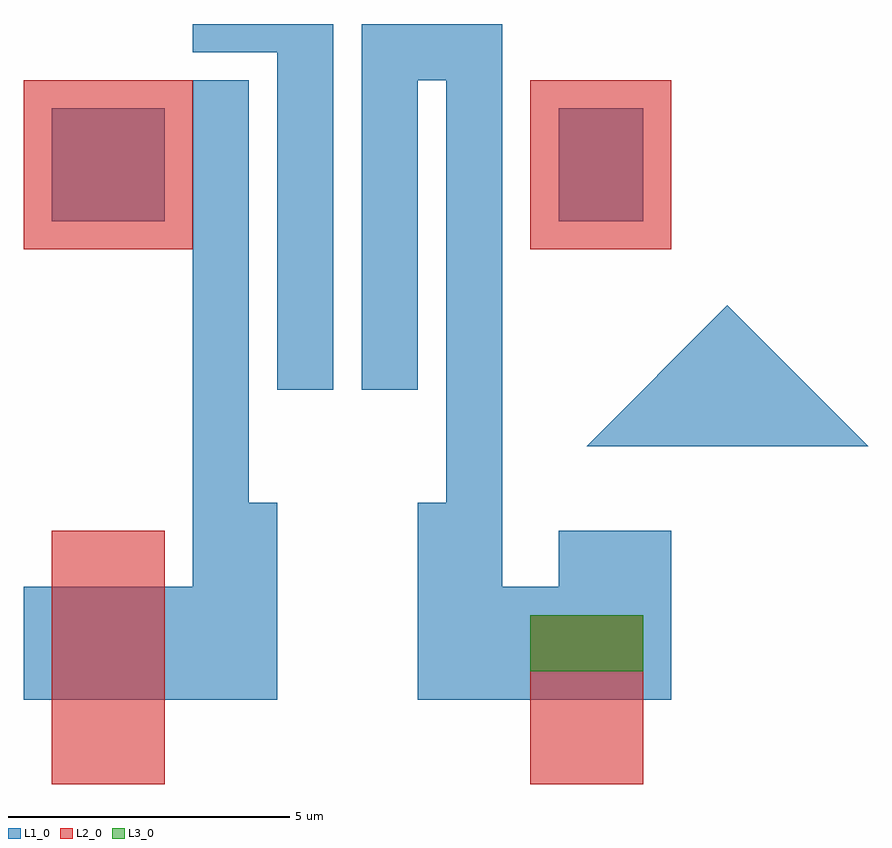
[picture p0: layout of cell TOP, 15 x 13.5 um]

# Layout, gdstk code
from math import pi, radians
import gdstk
lib = gdstk.Library(unit=1e-6, precision=1e-09)
def R(c, l, rs):  # rectangles x0, y0, x1, y1
    for r in rs: c.add(gdstk.rectangle(r[:2], r[2:], *l))
def P(c, l, *ps):  # polygons
    for p in ps: c.add(gdstk.Polygon(p, *l))
L1_0 = (1, 0)
L2_0 = (2, 0)
L3_0 = (3, 0)
L100_0 = (100, 0)
L101_0 = (101, 0)
L102_0 = (102, 0)
L103_0 = (103, 0)
L110_0 = (110, 0)
L111_0 = (111, 0)
L112_0 = (112, 0)
L113_0 = (113, 0)
L114_0 = (114, 0)
L115_0 = (115, 0)
L116_0 = (116, 0)

part = lib.new_cell('PART')
R(part, L1_0, [(0,0,1,5.5)])

child = lib.new_cell('CHILD')
R(child, L1_0, [(-0.5,-5.5,0,-2), (1,-5.5,4,-3.5), (2,3,3.5,5)])
R(child, L2_0, [(1.5,-7,3.5,-4), (1.5,2.5,4,5.5)])
child.add(gdstk.Reference(part, (0,0)))
child.add(gdstk.Reference(part, (0,-5.5)))
child.add(gdstk.Reference(part, (-1.5,0)))

part_1 = lib.new_cell('PART$1')

child_1 = lib.new_cell('CHILD$1')
child_1.add(gdstk.Reference(part_1, (0,0)))
child_1.add(gdstk.Reference(part_1, (0,-5.5)))
child_1.add(gdstk.Reference(part_1, (-1.5,0)))

part_var1 = lib.new_cell('PART$VAR1')

child_var1 = lib.new_cell('CHILD$VAR1')
child_var1.add(gdstk.Reference(part_var1, (0,0)))
child_var1.add(gdstk.Reference(part_var1, (0,-5.5)))
child_var1.add(gdstk.Reference(part_var1, (-1.5,0)))

top = lib.new_cell('TOP')
R(top, L1_0, [(2,-3.5,4,-2.5), (-6,3,-5,5), (-3,5.5,-2,6.5), (-1.5,5.5,1,6.5), (-4.5,6,-3,6.5)])
P(top, L1_0, [(2.5,-1),(5,1.5),(7.5,-1)])
R(top, L2_0, [(-7,-4,-5,-2.5), (-5.5,2.5,-4.5,5.5)])
R(top, L3_0, [(1.5,-5,3.5,-4)])
top.add(gdstk.FlexPath([(-3,0),(-3,6)], 0, ends="flush", simple_path=True, layer=100, datatype=0))  # L100_0
top.add(gdstk.FlexPath([(-2,6.5),(-2,0)], 0, ends="flush", simple_path=True, layer=100, datatype=0))  # L100_0
top.add(gdstk.FlexPath([(-0.5,5.5),(-0.5,0)], 0, ends="flush", simple_path=True, layer=100, datatype=0))  # L100_0
top.add(gdstk.FlexPath([(-1.5,0),(-1.5,6.5)], 0, ends="flush", simple_path=True, layer=100, datatype=0))  # L100_0
top.add(gdstk.FlexPath([(0,-2),(0,5.5)], 0, ends="flush", simple_path=True, layer=100, datatype=0))  # L100_0
top.add(gdstk.FlexPath([(-4.5,-3.5),(-4.5,5.5)], 0, ends="flush", simple_path=True, layer=100, datatype=0))  # L100_0
top.add(gdstk.FlexPath([(1,6.5),(1,-3.5)], 0, ends="flush", simple_path=True, layer=100, datatype=0))  # L100_0
top.add(gdstk.FlexPath([(-3.5,5.5),(-3.5,-2)], 0, ends="flush", simple_path=True, layer=100, datatype=0))  # L100_0
top.add(gdstk.FlexPath([(-4.5,6.5),(-2,6.5)], 0, ends="flush", simple_path=True, layer=101, datatype=0))  # L101_0
top.add(gdstk.FlexPath([(2.5,-1),(5,1.5)], 0, ends="flush", simple_path=True, layer=101, datatype=0))  # L101_0
top.add(gdstk.FlexPath([(5,1.5),(7.5,-1)], 0, ends="flush", simple_path=True, layer=101, datatype=0))  # L101_0
top.add(gdstk.FlexPath([(7.5,-1),(2.5,-1)], 0, ends="flush", simple_path=True, layer=101, datatype=0))  # L101_0
top.add(gdstk.FlexPath([(-1.5,6.5),(1,6.5)], 0, ends="flush", simple_path=True, layer=101, datatype=0))  # L101_0
top.add(gdstk.FlexPath([(4,-2.5),(4,-5.5)], 0, ends="flush", simple_path=True, layer=101, datatype=0))  # L101_0
top.add(gdstk.FlexPath([(4,-5.5),(-0.5,-5.5)], 0, ends="flush", simple_path=True, layer=101, datatype=0))  # L101_0
top.add(gdstk.FlexPath([(-0.5,-5.5),(-0.5,-2)], 0, ends="flush", simple_path=True, layer=101, datatype=0))  # L101_0
top.add(gdstk.FlexPath([(-3,-2),(-3,-5.5)], 0, ends="flush", simple_path=True, layer=101, datatype=0))  # L101_0
top.add(gdstk.FlexPath([(-3,-5.5),(-7.5,-5.5)], 0, ends="flush", simple_path=True, layer=101, datatype=0))  # L101_0
top.add(gdstk.FlexPath([(-7.5,-3.5),(-4.5,-3.5)], 0, ends="flush", simple_path=True, layer=101, datatype=0))  # L101_0
top.add(gdstk.FlexPath([(-2,0),(-3,0)], 0, ends="flush", simple_path=True, layer=102, datatype=0))  # L102_0
top.add(gdstk.FlexPath([(1,-3.5),(2,-3.5)], 0, ends="flush", simple_path=True, layer=102, datatype=0))  # L102_0
top.add(gdstk.FlexPath([(2,-3.5),(2,-2.5)], 0, ends="flush", simple_path=True, layer=102, datatype=0))  # L102_0
top.add(gdstk.FlexPath([(-0.5,-2),(0,-2)], 0, ends="flush", simple_path=True, layer=102, datatype=0))  # L102_0
top.add(gdstk.FlexPath([(2,-2.5),(4,-2.5)], 0, ends="flush", simple_path=True, layer=102, datatype=0))  # L102_0
top.add(gdstk.FlexPath([(-4.5,5.5),(-3.5,5.5)], 0, ends="flush", simple_path=True, layer=102, datatype=0))  # L102_0
top.add(gdstk.FlexPath([(-5,3),(-7,3)], 0, ends="flush", simple_path=True, layer=102, datatype=0))  # L102_0
top.add(gdstk.FlexPath([(-3,6),(-4.5,6)], 0, ends="flush", simple_path=True, layer=102, datatype=0))  # L102_0
top.add(gdstk.FlexPath([(2,5),(3.5,5)], 0, ends="flush", simple_path=True, layer=102, datatype=0))  # L102_0
top.add(gdstk.FlexPath([(-4.5,6),(-4.5,6.5)], 0, ends="flush", simple_path=True, layer=102, datatype=0))  # L102_0
top.add(gdstk.FlexPath([(2,3),(2,5)], 0, ends="flush", simple_path=True, layer=102, datatype=0))  # L102_0
top.add(gdstk.FlexPath([(3.5,3),(2,3)], 0, ends="flush", simple_path=True, layer=102, datatype=0))  # L102_0
top.add(gdstk.FlexPath([(-7,3),(-7,5)], 0, ends="flush", simple_path=True, layer=102, datatype=0))  # L102_0
top.add(gdstk.FlexPath([(-5,5),(-5,3)], 0, ends="flush", simple_path=True, layer=102, datatype=0))  # L102_0
top.add(gdstk.FlexPath([(-0.5,0),(-1.5,0)], 0, ends="flush", simple_path=True, layer=102, datatype=0))  # L102_0
top.add(gdstk.FlexPath([(-3.5,-2),(-3,-2)], 0, ends="flush", simple_path=True, layer=102, datatype=0))  # L102_0
top.add(gdstk.FlexPath([(-7,5),(-5,5)], 0, ends="flush", simple_path=True, layer=102, datatype=0))  # L102_0
top.add(gdstk.FlexPath([(-7.5,-5.5),(-7.5,-3.5)], 0, ends="flush", simple_path=True, layer=102, datatype=0))  # L102_0
top.add(gdstk.FlexPath([(3.5,5),(3.5,3)], 0, ends="flush", simple_path=True, layer=102, datatype=0))  # L102_0
top.add(gdstk.FlexPath([(0,5.5),(-0.5,5.5)], 0, ends="flush", simple_path=True, layer=102, datatype=0))  # L102_0
top.add(gdstk.FlexPath([(2,-2.5),(4,-2.5)], 0, ends="flush", simple_path=True, layer=103, datatype=0))  # L103_0
top.add(gdstk.FlexPath([(-7,3),(-7,5)], 0, ends="flush", simple_path=True, layer=103, datatype=0))  # L103_0
top.add(gdstk.FlexPath([(-7,5),(-5,5)], 0, ends="flush", simple_path=True, layer=103, datatype=0))  # L103_0
top.add(gdstk.FlexPath([(-5,3),(-7,3)], 0, ends="flush", simple_path=True, layer=103, datatype=0))  # L103_0
top.add(gdstk.FlexPath([(-5,5),(-5,3)], 0, ends="flush", simple_path=True, layer=103, datatype=0))  # L103_0
top.add(gdstk.FlexPath([(3.5,5),(3.5,3)], 0, ends="flush", simple_path=True, layer=103, datatype=0))  # L103_0
top.add(gdstk.FlexPath([(2,3),(2,5)], 0, ends="flush", simple_path=True, layer=103, datatype=0))  # L103_0
top.add(gdstk.FlexPath([(-7.5,-5.5),(-7.5,-3.5)], 0, ends="flush", simple_path=True, layer=103, datatype=0))  # L103_0
top.add(gdstk.FlexPath([(-2,0),(-3,0)], 0, ends="flush", simple_path=True, layer=110, datatype=0))  # L110_0
top.add(gdstk.FlexPath([(-4.5,6.5),(-2,6.5)], 0, ends="flush", simple_path=True, layer=110, datatype=0))  # L110_0
top.add(gdstk.FlexPath([(7.5,-1),(2.5,-1)], 0, ends="flush", simple_path=True, layer=110, datatype=0))  # L110_0
top.add(gdstk.FlexPath([(1,-3.5),(2,-3.5)], 0, ends="flush", simple_path=True, layer=110, datatype=0))  # L110_0
top.add(gdstk.FlexPath([(-0.5,-2),(0,-2)], 0, ends="flush", simple_path=True, layer=110, datatype=0))  # L110_0
top.add(gdstk.FlexPath([(-4.5,5.5),(-3.5,5.5)], 0, ends="flush", simple_path=True, layer=110, datatype=0))  # L110_0
top.add(gdstk.FlexPath([(-5,3),(-7,3)], 0, ends="flush", simple_path=True, layer=110, datatype=0))  # L110_0
top.add(gdstk.FlexPath([(-7.5,-3.5),(-4.5,-3.5)], 0, ends="flush", simple_path=True, layer=110, datatype=0))  # L110_0
top.add(gdstk.FlexPath([(2,-2.5),(4,-2.5)], 0, ends="flush", simple_path=True, layer=110, datatype=0))  # L110_0
top.add(gdstk.FlexPath([(-3,-5.5),(-7.5,-5.5)], 0, ends="flush", simple_path=True, layer=110, datatype=0))  # L110_0
top.add(gdstk.FlexPath([(3.5,3),(2,3)], 0, ends="flush", simple_path=True, layer=110, datatype=0))  # L110_0
top.add(gdstk.FlexPath([(-1.5,6.5),(1,6.5)], 0, ends="flush", simple_path=True, layer=110, datatype=0))  # L110_0
top.add(gdstk.FlexPath([(-3,6),(-4.5,6)], 0, ends="flush", simple_path=True, layer=110, datatype=0))  # L110_0
top.add(gdstk.FlexPath([(2,5),(3.5,5)], 0, ends="flush", simple_path=True, layer=110, datatype=0))  # L110_0
top.add(gdstk.FlexPath([(4,-5.5),(-0.5,-5.5)], 0, ends="flush", simple_path=True, layer=110, datatype=0))  # L110_0
top.add(gdstk.FlexPath([(-0.5,0),(-1.5,0)], 0, ends="flush", simple_path=True, layer=110, datatype=0))  # L110_0
top.add(gdstk.FlexPath([(-3.5,-2),(-3,-2)], 0, ends="flush", simple_path=True, layer=110, datatype=0))  # L110_0
top.add(gdstk.FlexPath([(-7,5),(-5,5)], 0, ends="flush", simple_path=True, layer=110, datatype=0))  # L110_0
top.add(gdstk.FlexPath([(0,5.5),(-0.5,5.5)], 0, ends="flush", simple_path=True, layer=110, datatype=0))  # L110_0
top.add(gdstk.FlexPath([(5,1.5),(7.5,-1)], 0, ends="flush", simple_path=True, layer=111, datatype=0))  # L111_0
top.add(gdstk.FlexPath([(-3,0),(-3,6)], 0, ends="flush", simple_path=True, layer=112, datatype=0))  # L112_0
top.add(gdstk.FlexPath([(-2,6.5),(-2,0)], 0, ends="flush", simple_path=True, layer=112, datatype=0))  # L112_0
top.add(gdstk.FlexPath([(2,-3.5),(2,-2.5)], 0, ends="flush", simple_path=True, layer=112, datatype=0))  # L112_0
top.add(gdstk.FlexPath([(-3.5,5.5),(-3.5,-2)], 0, ends="flush", simple_path=True, layer=112, datatype=0))  # L112_0
top.add(gdstk.FlexPath([(-0.5,-5.5),(-0.5,-2)], 0, ends="flush", simple_path=True, layer=112, datatype=0))  # L112_0
top.add(gdstk.FlexPath([(1,6.5),(1,-3.5)], 0, ends="flush", simple_path=True, layer=112, datatype=0))  # L112_0
top.add(gdstk.FlexPath([(-4.5,-3.5),(-4.5,5.5)], 0, ends="flush", simple_path=True, layer=112, datatype=0))  # L112_0
top.add(gdstk.FlexPath([(-7,3),(-7,5)], 0, ends="flush", simple_path=True, layer=112, datatype=0))  # L112_0
top.add(gdstk.FlexPath([(-3,-2),(-3,-5.5)], 0, ends="flush", simple_path=True, layer=112, datatype=0))  # L112_0
top.add(gdstk.FlexPath([(3.5,5),(3.5,3)], 0, ends="flush", simple_path=True, layer=112, datatype=0))  # L112_0
top.add(gdstk.FlexPath([(-7.5,-5.5),(-7.5,-3.5)], 0, ends="flush", simple_path=True, layer=112, datatype=0))  # L112_0
top.add(gdstk.FlexPath([(-4.5,6),(-4.5,6.5)], 0, ends="flush", simple_path=True, layer=112, datatype=0))  # L112_0
top.add(gdstk.FlexPath([(2,3),(2,5)], 0, ends="flush", simple_path=True, layer=112, datatype=0))  # L112_0
top.add(gdstk.FlexPath([(2.5,-1),(5,1.5)], 0, ends="flush", simple_path=True, layer=112, datatype=0))  # L112_0
top.add(gdstk.FlexPath([(-5,5),(-5,3)], 0, ends="flush", simple_path=True, layer=112, datatype=0))  # L112_0
top.add(gdstk.FlexPath([(-0.5,5.5),(-0.5,0)], 0, ends="flush", simple_path=True, layer=112, datatype=0))  # L112_0
top.add(gdstk.FlexPath([(0,-2),(0,5.5)], 0, ends="flush", simple_path=True, layer=112, datatype=0))  # L112_0
top.add(gdstk.FlexPath([(4,-2.5),(4,-5.5)], 0, ends="flush", simple_path=True, layer=112, datatype=0))  # L112_0
top.add(gdstk.FlexPath([(-1.5,0),(-1.5,6.5)], 0, ends="flush", simple_path=True, layer=112, datatype=0))  # L112_0
top.add(gdstk.FlexPath([(-3,0),(-3,6)], 0, ends="flush", simple_path=True, layer=113, datatype=0))  # L113_0
top.add(gdstk.FlexPath([(-2,6.5),(-2,0)], 0, ends="flush", simple_path=True, layer=113, datatype=0))  # L113_0
top.add(gdstk.FlexPath([(2,-3.5),(2,-2.5)], 0, ends="flush", simple_path=True, layer=113, datatype=0))  # L113_0
top.add(gdstk.FlexPath([(-3.5,5.5),(-3.5,-2)], 0, ends="flush", simple_path=True, layer=113, datatype=0))  # L113_0
top.add(gdstk.FlexPath([(-0.5,-5.5),(-0.5,-2)], 0, ends="flush", simple_path=True, layer=113, datatype=0))  # L113_0
top.add(gdstk.FlexPath([(1,6.5),(1,-3.5)], 0, ends="flush", simple_path=True, layer=113, datatype=0))  # L113_0
top.add(gdstk.FlexPath([(-4.5,-3.5),(-4.5,5.5)], 0, ends="flush", simple_path=True, layer=113, datatype=0))  # L113_0
top.add(gdstk.FlexPath([(-7,3),(-7,5)], 0, ends="flush", simple_path=True, layer=113, datatype=0))  # L113_0
top.add(gdstk.FlexPath([(-3,-2),(-3,-5.5)], 0, ends="flush", simple_path=True, layer=113, datatype=0))  # L113_0
top.add(gdstk.FlexPath([(3.5,5),(3.5,3)], 0, ends="flush", simple_path=True, layer=113, datatype=0))  # L113_0
top.add(gdstk.FlexPath([(-7.5,-5.5),(-7.5,-3.5)], 0, ends="flush", simple_path=True, layer=113, datatype=0))  # L113_0
top.add(gdstk.FlexPath([(-4.5,6),(-4.5,6.5)], 0, ends="flush", simple_path=True, layer=113, datatype=0))  # L113_0
top.add(gdstk.FlexPath([(2,3),(2,5)], 0, ends="flush", simple_path=True, layer=113, datatype=0))  # L113_0
top.add(gdstk.FlexPath([(-5,5),(-5,3)], 0, ends="flush", simple_path=True, layer=113, datatype=0))  # L113_0
top.add(gdstk.FlexPath([(-0.5,5.5),(-0.5,0)], 0, ends="flush", simple_path=True, layer=113, datatype=0))  # L113_0
top.add(gdstk.FlexPath([(0,-2),(0,5.5)], 0, ends="flush", simple_path=True, layer=113, datatype=0))  # L113_0
top.add(gdstk.FlexPath([(4,-2.5),(4,-5.5)], 0, ends="flush", simple_path=True, layer=113, datatype=0))  # L113_0
top.add(gdstk.FlexPath([(-1.5,0),(-1.5,6.5)], 0, ends="flush", simple_path=True, layer=113, datatype=0))  # L113_0
top.add(gdstk.FlexPath([(-2,0),(-3,0)], 0, ends="flush", simple_path=True, layer=114, datatype=0))  # L114_0
top.add(gdstk.FlexPath([(-4.5,6.5),(-2,6.5)], 0, ends="flush", simple_path=True, layer=114, datatype=0))  # L114_0
top.add(gdstk.FlexPath([(-3,6),(-4.5,6)], 0, ends="flush", simple_path=True, layer=114, datatype=0))  # L114_0
top.add(gdstk.FlexPath([(-3,0),(-3,6)], 0, ends="flush", simple_path=True, layer=114, datatype=0))  # L114_0
top.add(gdstk.FlexPath([(-0.5,-5.5),(-0.5,-2)], 0, ends="flush", simple_path=True, layer=114, datatype=0))  # L114_0
top.add(gdstk.FlexPath([(-3.5,-2),(-3,-2)], 0, ends="flush", simple_path=True, layer=114, datatype=0))  # L114_0
top.add(gdstk.FlexPath([(0,5.5),(-0.5,5.5)], 0, ends="flush", simple_path=True, layer=114, datatype=0))  # L114_0
top.add(gdstk.FlexPath([(-4.5,5.5),(-3.5,5.5)], 0, ends="flush", simple_path=True, layer=114, datatype=0))  # L114_0
top.add(gdstk.FlexPath([(7.5,-1),(2.5,-1)], 0, ends="flush", simple_path=True, layer=114, datatype=0))  # L114_0
top.add(gdstk.FlexPath([(-5,3),(-7,3)], 0, ends="flush", simple_path=True, layer=114, datatype=0))  # L114_0
top.add(gdstk.FlexPath([(-7.5,-3.5),(-4.5,-3.5)], 0, ends="flush", simple_path=True, layer=114, datatype=0))  # L114_0
top.add(gdstk.FlexPath([(4,-2.5),(4,-5.5)], 0, ends="flush", simple_path=True, layer=114, datatype=0))  # L114_0
top.add(gdstk.FlexPath([(4,-5.5),(-0.5,-5.5)], 0, ends="flush", simple_path=True, layer=114, datatype=0))  # L114_0
top.add(gdstk.FlexPath([(0,-2),(0,5.5)], 0, ends="flush", simple_path=True, layer=114, datatype=0))  # L114_0
top.add(gdstk.FlexPath([(2,3),(2,5)], 0, ends="flush", simple_path=True, layer=114, datatype=0))  # L114_0
top.add(gdstk.FlexPath([(-2,6.5),(-2,0)], 0, ends="flush", simple_path=True, layer=114, datatype=0))  # L114_0
top.add(gdstk.FlexPath([(-3,-5.5),(-7.5,-5.5)], 0, ends="flush", simple_path=True, layer=114, datatype=0))  # L114_0
top.add(gdstk.FlexPath([(-7,5),(-5,5)], 0, ends="flush", simple_path=True, layer=114, datatype=0))  # L114_0
top.add(gdstk.FlexPath([(-3,-2),(-3,-5.5)], 0, ends="flush", simple_path=True, layer=114, datatype=0))  # L114_0
top.add(gdstk.FlexPath([(-3.5,5.5),(-3.5,-2)], 0, ends="flush", simple_path=True, layer=114, datatype=0))  # L114_0
top.add(gdstk.FlexPath([(2,-2.5),(4,-2.5)], 0, ends="flush", simple_path=True, layer=114, datatype=0))  # L114_0
top.add(gdstk.FlexPath([(-7,3),(-7,5)], 0, ends="flush", simple_path=True, layer=114, datatype=0))  # L114_0
top.add(gdstk.FlexPath([(-4.5,-3.5),(-4.5,5.5)], 0, ends="flush", simple_path=True, layer=114, datatype=0))  # L114_0
top.add(gdstk.FlexPath([(-5,5),(-5,3)], 0, ends="flush", simple_path=True, layer=114, datatype=0))  # L114_0
top.add(gdstk.FlexPath([(3.5,3),(2,3)], 0, ends="flush", simple_path=True, layer=114, datatype=0))  # L114_0
top.add(gdstk.FlexPath([(2,-3.5),(2,-2.5)], 0, ends="flush", simple_path=True, layer=114, datatype=0))  # L114_0
top.add(gdstk.FlexPath([(-1.5,6.5),(1,6.5)], 0, ends="flush", simple_path=True, layer=114, datatype=0))  # L114_0
top.add(gdstk.FlexPath([(-0.5,0),(-1.5,0)], 0, ends="flush", simple_path=True, layer=114, datatype=0))  # L114_0
top.add(gdstk.FlexPath([(-0.5,5.5),(-0.5,0)], 0, ends="flush", simple_path=True, layer=114, datatype=0))  # L114_0
top.add(gdstk.FlexPath([(-4.5,6),(-4.5,6.5)], 0, ends="flush", simple_path=True, layer=114, datatype=0))  # L114_0
top.add(gdstk.FlexPath([(-7.5,-5.5),(-7.5,-3.5)], 0, ends="flush", simple_path=True, layer=114, datatype=0))  # L114_0
top.add(gdstk.FlexPath([(2,5),(3.5,5)], 0, ends="flush", simple_path=True, layer=114, datatype=0))  # L114_0
top.add(gdstk.FlexPath([(-0.5,-2),(0,-2)], 0, ends="flush", simple_path=True, layer=114, datatype=0))  # L114_0
top.add(gdstk.FlexPath([(1,-3.5),(2,-3.5)], 0, ends="flush", simple_path=True, layer=114, datatype=0))  # L114_0
top.add(gdstk.FlexPath([(3.5,5),(3.5,3)], 0, ends="flush", simple_path=True, layer=114, datatype=0))  # L114_0
top.add(gdstk.FlexPath([(-1.5,0),(-1.5,6.5)], 0, ends="flush", simple_path=True, layer=114, datatype=0))  # L114_0
top.add(gdstk.FlexPath([(1,6.5),(1,-3.5)], 0, ends="flush", simple_path=True, layer=114, datatype=0))  # L114_0
top.add(gdstk.FlexPath([(2.5,-1),(5,1.5)], 0, ends="flush", simple_path=True, layer=115, datatype=0))  # L115_0
top.add(gdstk.FlexPath([(2.5,-1),(5,1.5)], 0, ends="flush", simple_path=True, layer=116, datatype=0))  # L116_0
top.add(gdstk.FlexPath([(5,1.5),(7.5,-1)], 0, ends="flush", simple_path=True, layer=116, datatype=0))  # L116_0
top.add(gdstk.Reference(child, (0,0)))
top.add(gdstk.Reference(child, (-3.5,0), rotation=pi, x_reflection=True))
top.add(gdstk.Reference(child_1, (-3.5,0), rotation=pi, x_reflection=True))
top.add(gdstk.Reference(child_var1, (0,0)))

lib.write_gds('TOP.gds')
